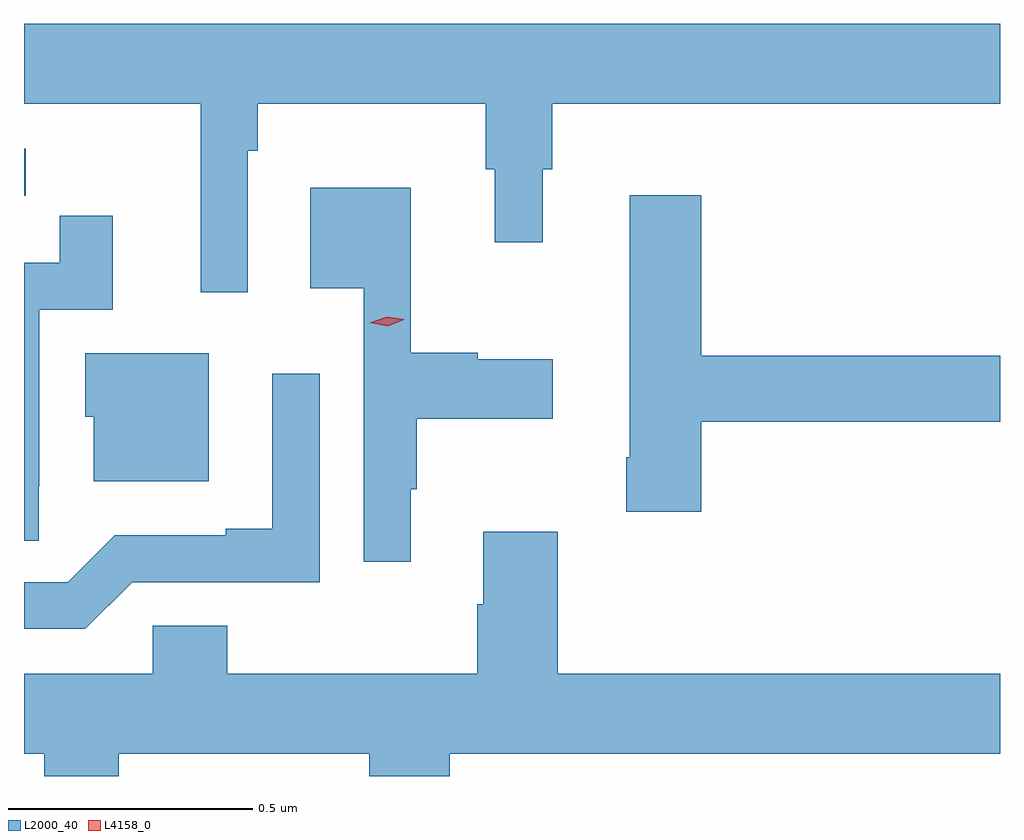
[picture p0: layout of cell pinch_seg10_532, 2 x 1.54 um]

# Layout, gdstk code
import gdstk
lib = gdstk.Library(unit=1e-6, precision=1e-09)
def R(c, l, rs):  # rectangles x0, y0, x1, y1
    for r in rs: c.add(gdstk.rectangle(r[:2], r[2:], *l))
def P(c, l, *ps):  # polygons
    for p in ps: c.add(gdstk.Polygon(p, *l))
L2000_40 = (2000, 40)
L4158_0 = (4158, 0)

pinch_seg10_532 = lib.new_cell('pinch_seg10_532')
R(pinch_seg10_532, L2000_40, [(267.783,1296.132,267.787,1296.228)])
P(pinch_seg10_532, L2000_40, [(268.242,1296.224),(268.262,1296.224),(268.262,1296.32),(268.729,1296.32),(268.729,1296.186),(268.748,1296.186),(268.748,1296.036),(268.846,1296.036),(268.846,1296.186),(268.865,1296.186),(268.865,1296.32),(269.783,1296.32),(269.783,1296.484),(267.783,1296.484),(267.783,1296.32),(268.145,1296.32),(268.145,1295.934),(268.242,1295.934)],
  [(268.576,1295.53),(268.588,1295.53),(268.588,1295.675),(268.867,1295.675),(268.867,1295.797),(268.713,1295.797),(268.713,1295.81),(268.576,1295.81),(268.576,1296.148),(268.37,1296.148),(268.37,1295.942),(268.479,1295.942),(268.479,1295.382),(268.576,1295.382)],
  [(269.171,1295.668),(269.783,1295.668),(269.783,1295.804),(269.171,1295.804),(269.171,1296.133),(269.024,1296.133),(269.024,1295.596),(269.017,1295.596),(269.017,1295.484),(269.171,1295.484)],
  [(267.813,1295.536),(267.814,1295.536),(267.814,1295.898),(267.965,1295.898),(267.965,1296.091),(267.856,1296.091),(267.856,1295.994),(267.783,1295.994),(267.783,1295.425),(267.813,1295.425)],
  [(268.162,1295.809),(267.908,1295.809),(267.908,1295.679),(267.926,1295.679),(267.926,1295.546),(268.162,1295.546)],
  [(268.005,1295.34),(268.389,1295.34),(268.389,1295.767),(268.292,1295.767),(268.292,1295.449),(268.196,1295.449),(268.196,1295.436),(267.969,1295.436),(267.873,1295.34),(267.783,1295.34),(267.783,1295.244),(267.909,1295.244)],
  [(268.49,1294.942),(268.655,1294.942),(268.655,1294.988),(269.783,1294.988),(269.783,1295.152),(268.877,1295.152),(268.877,1295.443),(268.724,1295.443),(268.724,1295.294),(268.712,1295.294),(268.712,1295.152),(268.199,1295.152),(268.199,1295.25),(268.047,1295.25),(268.047,1295.152),(267.783,1295.152),(267.783,1294.988),(267.825,1294.988),(267.825,1294.942),(267.977,1294.942),(267.977,1294.988),(268.49,1294.988)])
P(pinch_seg10_532, L4158_0, [(268.528,1295.864),(268.492,1295.871),(268.492,1295.871),(268.492,1295.871),(268.526,1295.884),(268.562,1295.878),(268.562,1295.878),(268.562,1295.877)])

lib.write_gds('pinch_seg10_532.gds')
